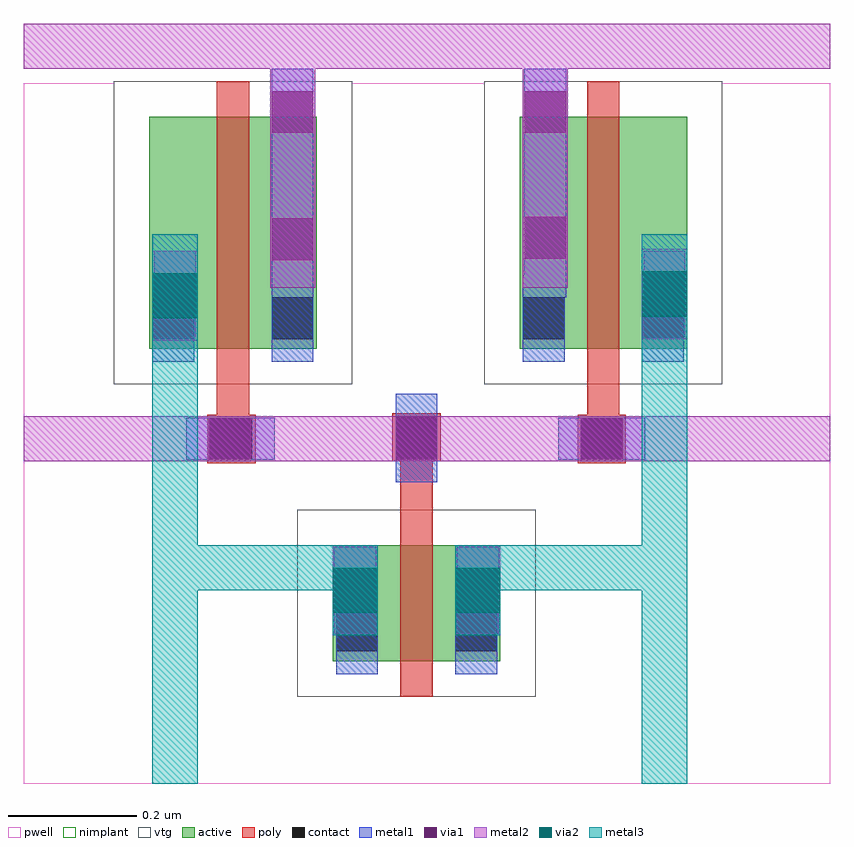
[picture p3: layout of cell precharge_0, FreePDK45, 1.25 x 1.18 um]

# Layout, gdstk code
from math import pi, radians
import gdstk
lib = gdstk.Library(unit=1e-6, precision=5e-10)
def R(c, l, rs):  # rectangles x0, y0, x1, y1
    for r in rs: c.add(gdstk.rectangle(r[:2], r[2:], *l))
active = (1, 0)
pwell = (2, 0)
nimplant = (4, 0)
vtg = (6, 0)
poly = (9, 0)
contact = (10, 0)
metal1 = (11, 0)
via1 = (12, 0)
metal2 = (13, 0)
via2 = (14, 0)
metal3 = (15, 0)

m2_m1_via = lib.new_cell('M2_M1_via')
R(m2_m1_via, metal1, [(-0.0675,-0.0325,0.0675,0.0325)])
R(m2_m1_via, via1, [(-0.0325,-0.0325,0.0325,0.0325)])
R(m2_m1_via, metal2, [(-0.035,-0.0675,0.035,0.0675)])

m2_m1_viab = lib.new_cell('M2_M1_viaB')
R(m2_m1_viab, metal1, [(-0.0675,-0.0325,0.0675,0.0325)])
R(m2_m1_viab, via1, [(-0.0325,-0.0325,0.0325,0.0325)])
R(m2_m1_viab, metal2, [(-0.0675,-0.035,0.0675,0.035)])

m2_m1_viac = lib.new_cell('M2_M1_viaC')
R(m2_m1_viac, metal1, [(-0.0325,-0.0675,0.0325,0.0675)])
R(m2_m1_viac, via1, [(-0.0325,-0.0325,0.0325,0.0325)])
R(m2_m1_viac, metal2, [(-0.035,-0.0675,0.035,0.0675)])

m3_m2_viab = lib.new_cell('M3_M2_viaB')
R(m3_m2_viab, metal2, [(-0.035,-0.07,0.035,0.07)])
R(m3_m2_viab, via2, [(-0.035,-0.035,0.035,0.035)])
R(m3_m2_viab, metal3, [(-0.035,-0.07,0.035,0.07)])

pcont_2 = lib.new_cell('pcont_2')
R(pcont_2, poly, [(-0.0375,-0.0375,0.0375,0.0375)])
R(pcont_2, contact, [(-0.0325,-0.0325,0.0325,0.0325)])
R(pcont_2, metal1, [(-0.0325,-0.0675,0.0325,0.0675)])

dcont_25 = lib.new_cell('dcont_25')
R(dcont_25, active, [(-0.0375,0.03,0.0375,0.105)])
R(dcont_25, contact, [(-0.0325,0.035,0.0325,0.1)])
R(dcont_25, metal1, [(-0.0325,0,0.0325,0.135)])

nmos_vtg_3 = lib.new_cell('nmos_vtg_3')
R(nmos_vtg_3, active, [(-0.105,0,0.155,0.18), (-0.105,0,-0.03,0.18), (0.08,0,0.155,0.18), (-0.105,0.01,-0.03,0.085), (0.08,0.01,0.155,0.085)])
R(nmos_vtg_3, pwell, [(-0.16,-0.055,0.21,0.235)])
R(nmos_vtg_3, nimplant, [(-0.105,0,0.155,0.18)])
R(nmos_vtg_3, vtg, [(-0.16,-0.055,0.21,0.235)])
R(nmos_vtg_3, poly, [(0,-0.055,0.05,0), (0,-0.055,0.05,0.235), (0,0.18,0.05,0.235)])
nmos_vtg_3.add(gdstk.Reference(dcont_25, (0.1175,-0.02)))
nmos_vtg_3.add(gdstk.Reference(dcont_25, (-0.0675,-0.02)))
nmos_vtg_3.add(gdstk.Label('l = 0.05', (0.06,0.09), layer=239, texttype=0))
nmos_vtg_3.add(gdstk.Label('w = 0.18', (0.025,0.245), layer=239, texttype=0))

nmos_vtg_12 = lib.new_cell('nmos_vtg_12')
R(nmos_vtg_12, active, [(-0.105,0,0.155,0.36), (-0.105,0,-0.03,0.36), (0.08,0,0.155,0.36), (-0.105,0.01,-0.03,0.085), (0.08,0.01,0.155,0.085)])
R(nmos_vtg_12, pwell, [(-0.16,-0.055,0.21,0.415)])
R(nmos_vtg_12, nimplant, [(-0.105,0,0.155,0.36)])
R(nmos_vtg_12, vtg, [(-0.16,-0.055,0.21,0.415)])
R(nmos_vtg_12, poly, [(0,-0.055,0.05,0), (0,-0.055,0.05,0.415), (0,0.36,0.05,0.415)])
nmos_vtg_12.add(gdstk.Reference(dcont_25, (0.1175,-0.02)))
nmos_vtg_12.add(gdstk.Reference(dcont_25, (-0.0675,-0.02)))
nmos_vtg_12.add(gdstk.Label('l = 0.05', (0.06,0.18), layer=239, texttype=0))
nmos_vtg_12.add(gdstk.Label('w = 0.36', (0.025,0.425), layer=239, texttype=0))

precharge_0 = lib.new_cell('precharge_0')
R(precharge_0, pwell, [(0.005,-0.0475,1.2575,1.04)])
R(precharge_0, poly, [(0.59,0.375,0.64,0.4525), (0.305,0.4975,0.355,0.575), (0.88,0.4975,0.93,0.575)])
R(precharge_0, metal1, [(0.39,0.7075,0.455,0.955), (0.7825,0.7075,0.8475,0.945)])
R(precharge_0, metal2, [(0.005,0.4525,1.2575,0.5225), (0.3875,0.7225,0.4575,0.9325), (0.78,0.7225,0.85,0.9325), (0.005,1.0625,1.2575,1.1325)])
R(precharge_0, metal3, [(0.205,-0.0475,0.275,0.805), (0.965,-0.0475,1.035,0.805), (0.26,0.2525,0.4875,0.3225), (0.74,0.2525,0.97,0.3225)])
precharge_0.add(gdstk.Reference(m2_m1_via, (0.615,0.4875), rotation=pi/2))
precharge_0.add(gdstk.Reference(m2_m1_viab, (0.9025,0.4875)))
precharge_0.add(gdstk.Reference(m2_m1_viab, (0.325,0.4875)))
precharge_0.add(gdstk.Reference(m2_m1_viac, (0.71,0.2525)))
precharge_0.add(gdstk.Reference(m2_m1_viac, (0.52,0.2525)))
precharge_0.add(gdstk.Reference(m2_m1_viac, (0.815,0.8)))
precharge_0.add(gdstk.Reference(m2_m1_viac, (0.4225,0.7975)))
precharge_0.add(gdstk.Reference(m2_m1_viac, (1,0.7125)))
precharge_0.add(gdstk.Reference(m2_m1_viac, (0.815,0.995)))
precharge_0.add(gdstk.Reference(m2_m1_viac, (0.4225,0.995)))
precharge_0.add(gdstk.Reference(m2_m1_viac, (0.24,0.7125)))
precharge_0.add(gdstk.Reference(m3_m2_viab, (0.71,0.2525)))
precharge_0.add(gdstk.Reference(m3_m2_viab, (0.52,0.2525)))
precharge_0.add(gdstk.Reference(m3_m2_viab, (1,0.7125)))
precharge_0.add(gdstk.Reference(m3_m2_viab, (0.24,0.71)))
precharge_0.add(gdstk.Reference(pcont_2, (0.9025,0.4875), rotation=3*pi/2))
precharge_0.add(gdstk.Reference(pcont_2, (0.615,0.49)))
precharge_0.add(gdstk.Reference(pcont_2, (0.3275,0.4875), rotation=3*pi/2))
precharge_0.add(gdstk.Reference(nmos_vtg_3, (0.59,0.1425)))
precharge_0.add(gdstk.Reference(nmos_vtg_12, (0.305,0.6275)))
precharge_0.add(gdstk.Reference(nmos_vtg_12, (0.88,0.6275)))

lib.write_gds('precharge_0.gds')
